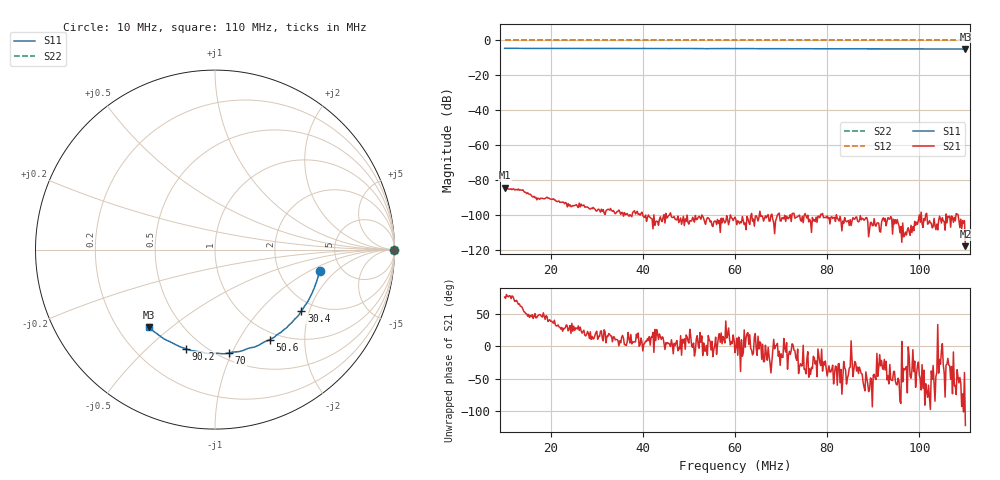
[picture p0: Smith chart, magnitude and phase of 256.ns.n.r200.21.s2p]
! Anritsu VNA Master:  Model: MS2036C/10/77
! SN:  1601066
! /card0/usr/256.ns.n.r200.21.s2p
! Existing Calibration Information:
! TYPE:  Current Settings,  Active Cal Settings
! TIME:  12/19/2017 04:16:10 PM,  12/19/2017 03:58:02 PM
! INTERNAL TEMP:  46.5 C,  47.0 C
! # POINTS:  501,  501
! START FREQ:  10.000 MHz,  10.000 MHz
! STOP FREQ:  110.000 MHz,  110.000 MHz
! SOURCE POWER:  High,  High
! IFBW:  100 Hz,  100 Hz
! AVG FACTOR:  1 ,  1
! REF PLANE 1:  0 mm,  0 mm
! REF PLANE 2:  0 mm,  0 mm
! CAL TYPE:  Full S11,  Full S11
! CAL METHOD:  SOLT,  SOLT
! CAL LINE TYPE:  Coax,  Coax
! DUT PORT 1:  N-Conn(F),  N-Conn(F)
! DUT PORT 2:  K-Conn(F),  K-Conn(F)
! CAL STATUS:  OK: Accuracy High,  --
# GHZ S DB R 50.0
! FREQ.GHZ  S11DB  S11A  S21DB  S21A  S12DB  S12A  S22DB  S22A
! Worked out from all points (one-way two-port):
!   501 points, 10 MHz to 110 MHz, reference 50 ohm
!   highest |S21| = -84.21 dB at 10 MHz (marker M1); lowest = -117.7 dB at 110 MHz (marker M2)
!   lowest |S11| = -4.9 dB at 110 MHz (marker M3), VSWR 3.63, Z = 16.5 - j21 ohm
!   |S11| at or under -10 dB: nowhere
!   |S22| runs from 0.0 to 0.0 dB; largest |S21 - S12| = 1
!   S11 on the Smith chart (normalised r, x): 10 MHz: 3.43, -1.25; 30.4 MHz: 1.70, -1.77; 50.6 MHz: 0.89, -1.37; 70 MHz: 0.56, -0.97; 90.2 MHz: 0.40, -0.67; 110 MHz: 0.33, -0.42
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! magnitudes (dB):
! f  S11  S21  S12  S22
! 10 MHz  -4.5  -84.2  0.0  0.0
! 26.8 MHz  -4.6  -94.6  0.0  0.0
! 30.4 MHz  -4.6  -96.5  0.0  0.0
! 33 MHz  -4.5  -96.1  0.0  0.0
! 43.4 MHz  -4.6  -105.7  0.0  0.0
! 50.6 MHz  -4.6  -103.3  0.0  0.0
! 53.2 MHz  -4.7  -101.8  0.0  0.0
! 57.6 MHz  -4.6  -103.2  0.0  0.0
! 60 MHz  -4.7  -101.1  0.0  0.0
! 61.2 MHz  -4.7  -103.6  0.0  0.0
! 65.4 MHz  -4.7  -97.7  0.0  0.0
! 68.2 MHz  -4.7  -102.3  0.0  0.0
! 70 MHz  -4.7  -103.3  0.0  0.0
! 73.2 MHz  -4.7  -101.3  0.0  0.0
! 76.8 MHz  -4.8  -101.2  0.0  0.0
! 80.4 MHz  -4.7  -101.2  0.0  0.0
! 83.4 MHz  -4.8  -103.3  0.0  0.0
! 88.2 MHz  -4.8  -102.3  0.0  0.0
! 90.2 MHz  -4.8  -101.9  0.0  0.0
! 93.4 MHz  -4.8  -102.0  0.0  0.0
! 97.6 MHz  -4.9  -107.1  0.0  0.0
! 110 MHz  -4.9  -117.7  0.0  0.0
